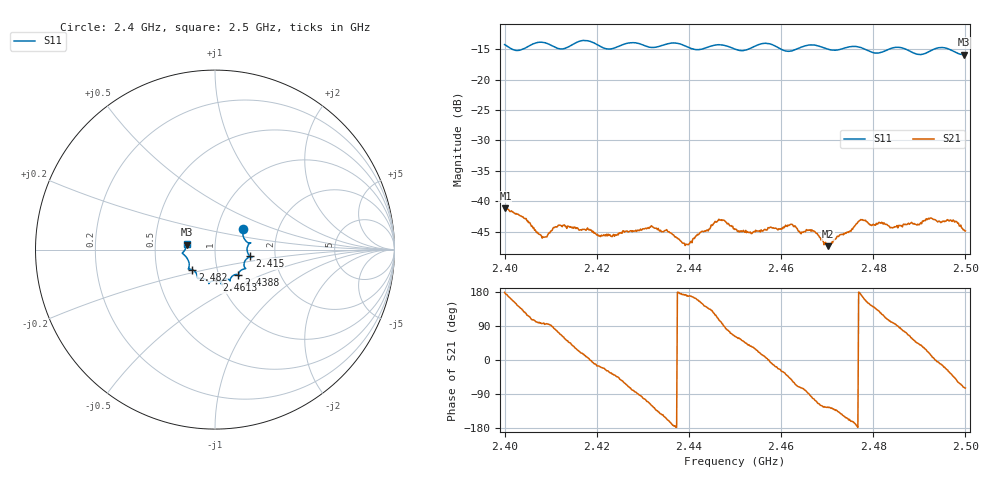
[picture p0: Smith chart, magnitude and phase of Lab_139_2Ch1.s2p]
# Hz S RI R 50
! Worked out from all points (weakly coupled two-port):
!   601 points, 2.4 GHz to 2.5 GHz, reference 50 ohm
!   highest |S21| = -41.14 dB at 2.4002 GHz (marker M1); lowest = -47.4 dB at 2.4702 GHz (marker M2)
!   lowest |S11| = -15.9 dB at 2.4997 GHz (marker M3), VSWR 1.38, Z = 36.3 + j1.99 ohm
!   |S11| at or under -10 dB: start of sweep to end of sweep
!   S12 and S22 are empty: the file has one direction only
!   S11 on the Smith chart (normalised r, x): 2.4 GHz: 1.33, +0.31; 2.415 GHz: 1.47, -0.11; 2.4388 GHz: 1.24, -0.36; 2.4613 GHz: 0.96, -0.34; 2.482 GHz: 0.76, -0.17; 2.5 GHz: 0.73, +0.05
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2.4e9  0.1577 0.1127  -0.00873 0.000239  0 0  0 0
2.400167e9  0.157 0.1104  -0.00874 0.000721  0 0  0 0
2.402833e9  0.1605 0.0658  -0.00632 0.00467  0 0  0 0
2.4085e9  0.1982 0.038  -0.000668 0.00502  0 0  0 0
2.4115e9  0.1802 0.0136  0.00169 0.006  0 0  0 0
2.415e9  0.193 -0.0359  0.00485 0.00354  0 0  0 0
2.416667e9  0.204 -0.044  0.0055 0.00181  0 0  0 0
2.420833e9  0.1806 -0.0477  0.00488 -0.00163  0 0  0 0
2.433333e9  0.1325 -0.1315  -0.00437 -0.00409  0 0  0 0
2.438833e9  0.1297 -0.1411  -0.00451 0.000538  0 0  0 0
2.446667e9  0.0838 -0.1744  -0.00167 0.00682  0 0  0 0
2.45e9  0.0683 -0.1644  0.00275 0.00519  0 0  0 0
2.456833e9  0.0385 -0.1948  0.0058 0.000464  0 0  0 0
2.461333e9  0.00801 -0.1709  0.00468 -0.0041  0 0  0 0
2.466667e9  -0.0342 -0.19  -0.000816 -0.00579  0 0  0 0
2.470167e9  -0.0447 -0.1722  -0.0024 -0.00355  0 0  0 0
2.477167e9  -0.097 -0.1566  -0.00698 0.000564  0 0  0 0
2.482e9  -0.1263 -0.112  -0.00329 0.0058  0 0  0 0
2.483333e9  -0.1399 -0.1089  -0.00169 0.00605  0 0  0 0
2.4925e9  -0.1703 -0.0307  0.00713 0.00158  0 0  0 0
2.499667e9  -0.1585 0.0267  0.0018 -0.00556  0 0  0 0
2.5e9  -0.1583 0.033  0.00157 -0.00549  0 0  0 0
